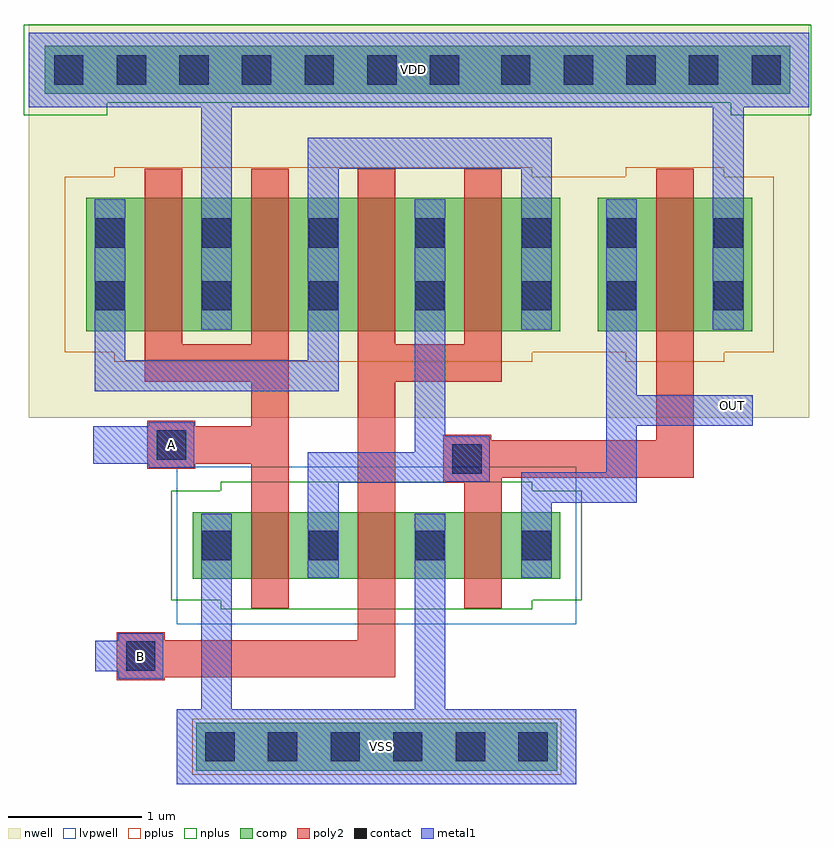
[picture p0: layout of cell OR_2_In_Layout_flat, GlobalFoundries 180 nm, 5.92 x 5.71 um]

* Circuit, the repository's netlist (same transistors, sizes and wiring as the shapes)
* NGSPICE file created from OR_2_In_Layout.ext - technology: gf180mcuC

.subckt pmos_3p3_MEVUAR a_n196_n100# a_n52_n100# w_n282_n230# a_108_n100# a_52_n144#
+ a_n108_n144#
X0 a_n52_n100# a_n108_n144# a_n196_n100# w_n282_n230# pfet_03v3 ad=0.26p pd=1.52u as=0.44p ps=2.88u w=1u l=0.28u
X1 a_108_n100# a_52_n144# a_n52_n100# w_n282_n230# pfet_03v3 ad=0.44p pd=2.88u as=0.26p ps=1.52u w=1u l=0.28u
.ends

.subckt nmos_3p3_GGGST2 a_n28_n94# a_n116_n50# a_28_n50# VSUBS
X0 a_28_n50# a_n28_n94# a_n116_n50# VSUBS nfet_03v3 ad=0.22p pd=1.88u as=0.22p ps=1.88u w=0.5u l=0.28u
.ends

.subckt pmos_3p3_MNVUAR w_n202_n230# a_28_n100# a_n28_n144# a_n116_n100#
X0 a_28_n100# a_n28_n144# a_n116_n100# w_n202_n230# pfet_03v3 ad=0.44p pd=2.88u as=0.44p ps=2.88u w=1u l=0.28u
.ends

.subckt OR_2_In_Layout OUT VDD VSS A B
Xpmos_3p3_MEVUAR_0 m1_99_350# a_622_212# VDD m1_99_350# B B pmos_3p3_MEVUAR
Xpmos_3p3_MEVUAR_1 m1_99_350# VDD VDD m1_99_350# A A pmos_3p3_MEVUAR
Xnmos_3p3_GGGST2_0 a_622_212# VSS OUT VSS nmos_3p3_GGGST2
Xnmos_3p3_GGGST2_1 A VSS a_622_212# VSS nmos_3p3_GGGST2
Xnmos_3p3_GGGST2_2 B a_622_212# VSS VSS nmos_3p3_GGGST2
Xpmos_3p3_MNVUAR_0 VDD VDD a_622_212# OUT pmos_3p3_MNVUAR
.ends

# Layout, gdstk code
import gdstk
lib = gdstk.Library(unit=1e-6, precision=1e-09)
def R(c, l, rs):  # rectangles x0, y0, x1, y1
    for r in rs: c.add(gdstk.rectangle(r[:2], r[2:], *l))
def A(c, l, x, y, w, h, nx, ny, dx, dy):  # array of equal rectangles
    R(c, l, [(x+i*dx, y+j*dy, x+i*dx+w, y+j*dy+h) for i in range(nx) for j in range(ny)])
nwell = (21, 0)
comp = (22, 0)
poly2 = (30, 0)
pplus = (31, 0)
nplus = (32, 0)
contact = (33, 0)
metal1 = (34, 0)
lvpwell = (204, 0)

or_2_in_layout_flat = lib.new_cell('OR_2_In_Layout_flat')
R(or_2_in_layout_flat, nwell, [(0,1.55,5.86,4.505)])
R(or_2_in_layout_flat, comp, [(1.255,-1.1,3.965,-0.74), (1.23,0.34,3.99,0.84), (0.43,2.2,3.99,3.2), (4.27,2.2,5.43,3.2), (0.12,3.98,5.715,4.34)])
A(or_2_in_layout_flat, poly2, 0.87, 2.1, 0.28, 1.32, 4, 1, 0.8, 0)
R(or_2_in_layout_flat, poly2, [(0.66,-0.42,1.02,-0.4), (0.66,-0.4,2.75,-0.12), (0.66,-0.12,1.02,-0.06), (2.47,-0.12,2.75,1.82), (1.67,0.12,1.95,1.205), (3.27,0.12,3.55,1.06), (3.11,1.06,3.55,1.1), (3.11,1.1,4.99,1.38), (0.89,1.165,1.25,1.205), (0.89,1.205,1.95,1.485), (3.11,1.38,3.47,1.42), (4.71,1.38,4.99,3.42), (0.89,1.485,1.25,1.525), (1.67,1.485,1.95,1.82), (0.87,1.82,1.95,2.1), (2.47,1.82,3.55,2.1)])
R(or_2_in_layout_flat, pplus, [(1.225,-1.13,3.995,-0.71), (0.64,1.97,3.78,2.04), (4.48,1.97,5.22,2.04), (0.27,2.04,5.59,3.36), (0.64,3.36,3.78,3.43), (4.48,3.36,5.22,3.43)])
R(or_2_in_layout_flat, nplus, [(1.44,0.11,3.78,0.18), (1.07,0.18,4.15,1), (1.44,1,3.78,1.07), (-0.04,3.82,0.59,3.915), (5.27,3.82,5.875,3.915), (-0.04,3.915,5.875,4.5)])
A(or_2_in_layout_flat, contact, 1.325, -1.03, 0.22, 0.22, 6, 1, 0.47, 0)
A(or_2_in_layout_flat, contact, 1.3, 0.48, 0.22, 0.22, 4, 1, 0.8, 0)
A(or_2_in_layout_flat, contact, 0.5, 2.355, 0.22, 0.22, 5, 2, 0.8, 0.47)
A(or_2_in_layout_flat, contact, 0.19, 4.05, 0.22, 0.22, 7, 1, 0.47, 0)
A(or_2_in_layout_flat, contact, 3.545, 4.05, 0.22, 0.22, 5, 1, 0.47, 0)
R(or_2_in_layout_flat, contact, [(0.73,-0.35,0.95,-0.13), (3.18,1.13,3.4,1.35), (0.96,1.235,1.18,1.455), (4.34,2.355,4.56,2.575), (5.14,2.355,5.36,2.575), (4.34,2.825,4.56,3.045), (5.14,2.825,5.36,3.045)])
R(or_2_in_layout_flat, metal1, [(1.11,-1.2,4.11,-0.64), (1.295,-0.64,1.525,0.83), (2.895,-0.64,3.125,0.83), (0.67,-0.41,1.01,-0.355), (0.5,-0.355,1.01,-0.125), (0.67,-0.125,1.01,-0.07), (2.095,0.35,2.325,1.06), (3.695,0.35,3.925,0.91), (3.695,0.91,4.565,1.14), (2.095,1.06,3.125,1.07), (2.095,1.07,3.46,1.29), (4.335,1.14,4.565,1.49), (0.9,1.175,1.24,1.205), (0.485,1.205,1.24,1.485), (2.895,1.29,3.46,1.41), (2.895,1.41,3.125,3.19), (0.9,1.485,1.24,1.515), (4.335,1.49,5.435,1.72), (4.335,1.72,4.565,3.19), (0.495,1.75,2.325,1.98), (0.495,1.98,0.725,3.19), (2.095,1.98,2.325,3.42), (1.295,2.21,1.525,3.88), (3.695,2.21,3.925,3.42), (5.135,2.21,5.365,3.88), (2.095,3.42,3.925,3.65), (0,3.88,5.86,4.44)])
R(or_2_in_layout_flat, lvpwell, [(1.11,0,4.11,1.18)])
or_2_in_layout_flat.add(gdstk.Label('VDD', (2.885,4.16), layer=34, texttype=10))
or_2_in_layout_flat.add(gdstk.Label('VSS', (2.65,-0.92), layer=34, texttype=10))
or_2_in_layout_flat.add(gdstk.Label('A', (1.07,1.345), layer=30, texttype=10))
or_2_in_layout_flat.add(gdstk.Label('B', (0.84,-0.24), layer=30, texttype=10))
or_2_in_layout_flat.add(gdstk.Label('OUT', (5.285,1.64), layer=34, texttype=10))

lib.write_gds('OR_2_In_Layout_flat.gds')
